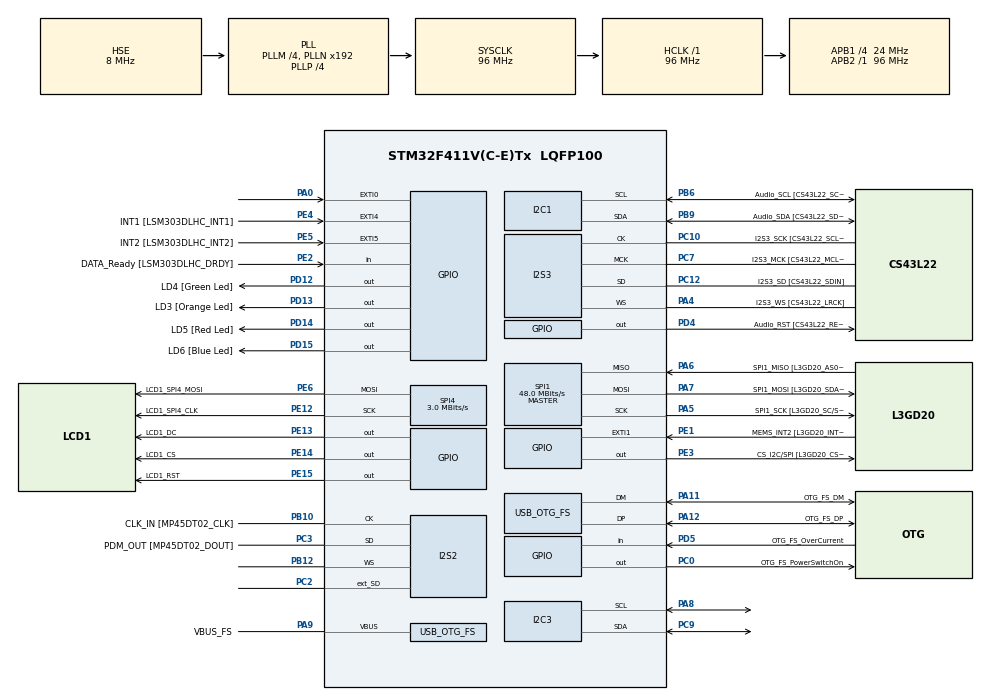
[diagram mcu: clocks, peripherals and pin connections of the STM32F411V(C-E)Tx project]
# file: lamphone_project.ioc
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I2S2.AudioFreq=I2S_AUDIOFREQ_96K
I2S2.ErrorAudioFreq=0.15 %
I2S2.FullDuplexMode=I2S_FULLDUPLEXMODE_ENABLE
I2S2.Instance=SPI$Index
I2S2.RealAudioFreq=96.153 KHz
I2S2.VirtualMode=I2S_MODE_MASTER
I2S3.AudioFreq=I2S_AUDIOFREQ_96K
I2S3.ErrorAudioFreq=-6.99 %
I2S3.FullDuplexMode=I2S_FULLDUPLEXMODE_DISABLE
I2S3.Instance=SPI$Index
I2S3.RealAudioFreq=89.285 KHz
I2S3.VirtualMode=I2S_MODE_MASTER
Mcu.Family=STM32F4
Mcu.Name=STM32F411V(C-E)Tx
Mcu.Package=LQFP100
NVIC.OTG_FS_IRQn=true\:0\:0\:false\:false\:true\:true\:true
NVIC.PriorityGroup=NVIC_PRIORITYGROUP_0
PA0-WKUP.GPIO_ModeDefaultEXTI=GPIO_MODE_EVT_RISING
PA0-WKUP.Signal=GPXTI0
PA10.GPIO_Label=OTG_FS_ID
PA10.Signal=USB_OTG_FS_ID
PA11.GPIO_Label=OTG_FS_DM
PA11.Mode=Device_Only
PA11.Signal=USB_OTG_FS_DM
PA12.GPIO_Label=OTG_FS_DP
PA12.Mode=Device_Only
PA12.Signal=USB_OTG_FS_DP
PA13.GPIO_Label=SWDIO
PA13.Mode=Serial_Wire
PA13.Signal=SYS_JTMS-SWDIO
PA14.GPIO_Label=SWCLK
PA14.Mode=Serial_Wire
PA14.Signal=SYS_JTCK-SWCLK
PA4.GPIO_Label=I2S3_WS [CS43L22_LRCK]
PA4.GPIO_Mode=GPIO_MODE_AF_PP
PA4.GPIO_PuPd=GPIO_NOPULL
PA4.GPIO_Speed=GPIO_SPEED_FREQ_LOW
PA4.Mode=Half_Duplex_Master
PA4.Signal=I2S3_WS
PA5.GPIO_Label=SPI1_SCK [L3GD20_SC/SPC]
PA5.Mode=Full_Duplex_Master
PA5.Signal=SPI1_SCK
PA6.GPIO_Label=SPI1_MISO [L3GD20_AS0/SDO]
PA6.Mode=Full_Duplex_Master
PA6.Signal=SPI1_MISO
PA7.GPIO_Label=SPI1_MOSI [L3GD20_SDA/SDI/SDO]
PA7.Mode=Full_Duplex_Master
PA7.Signal=SPI1_MOSI
PA8.Mode=I2C
PA8.Signal=I2C3_SCL
PA9.GPIO_Label=VBUS_FS
PA9.Mode=Activate_VBUS
PA9.Signal=USB_OTG_FS_VBUS
PB10.GPIO_Label=CLK_IN [MP45DT02_CLK]
PB10.Mode=Full_Duplex_Master
PB10.Signal=I2S2_CK
PB12.Mode=Full_Duplex_Master
PB12.Signal=I2S2_WS
PB3.GPIO_Label=SWO
PB3.Signal=SYS_JTDO-SWO
PB6.GPIO_Label=Audio_SCL [CS43L22_SCL]
PB6.GPIO_Mode=GPIO_MODE_AF_OD
PB6.GPIO_PuPd=GPIO_NOPULL
PB6.GPIO_Speed=GPIO_SPEED_FREQ_LOW
PB6.Mode=I2C
PB6.Signal=I2C1_SCL
PB9.GPIO_Label=Audio_SDA [CS43L22_SDA]
PB9.GPIO_Mode=GPIO_MODE_AF_OD
PB9.GPIO_PuPd=GPIO_NOPULL
PB9.GPIO_Speed=GPIO_SPEED_FREQ_LOW
PB9.Mode=I2C
PB9.Signal=I2C1_SDA
PC0.GPIO_Label=OTG_FS_PowerSwitchOn
PC0.PinState=GPIO_PIN_SET
PC0.Signal=GPIO_Output
PC10.GPIO_Label=I2S3_SCK [CS43L22_SCLK]
PC10.GPIO_Mode=GPIO_MODE_AF_PP
PC10.GPIO_PuPd=GPIO_NOPULL
PC10.GPIO_Speed=GPIO_SPEED_FREQ_LOW
PC10.Mode=Half_Duplex_Master
PC10.Signal=I2S3_CK
PC12.GPIO_Label=I2S3_SD [CS43L22_SDIN]
PC12.GPIO_Mode=GPIO_MODE_AF_PP
PC12.GPIO_PuPd=GPIO_NOPULL
PC12.GPIO_Speed=GPIO_SPEED_FREQ_LOW
PC12.Mode=Half_Duplex_Master
PC12.Signal=I2S3_SD
PC14-OSC32_IN.GPIO_Label=PC14-OSC32_IN
PC14-OSC32_IN.Mode=LSE-External-Oscillator
PC14-OSC32_IN.Signal=RCC_OSC32_IN
PC15-OSC32_OUT.GPIO_Label=PC15-OSC32_OUT
PC15-OSC32_OUT.Mode=LSE-External-Oscillator
PC15-OSC32_OUT.Signal=RCC_OSC32_OUT
PC2.Mode=Full_Duplex_Master
PC2.Signal=I2S2_ext_SD
PC3.GPIO_Label=PDM_OUT [MP45DT02_DOUT]
PC3.Mode=Full_Duplex_Master
PC3.Signal=I2S2_SD
PC7.GPIO_Label=I2S3_MCK [CS43L22_MCLK]
PC7.GPIO_Mode=GPIO_MODE_AF_PP
PC7.GPIO_PuPd=GPIO_NOPULL
PC7.GPIO_Speed=GPIO_SPEED_FREQ_LOW
PC7.Mode=Master_Clock_Activated
PC7.Signal=I2S3_MCK
PC9.Mode=I2C
PC9.Signal=I2C3_SDA
PD12.GPIO_Label=LD4 [Green Led]
PD12.GPIO_PuPd=GPIO_NOPULL
PD12.GPIO_Speed=GPIO_SPEED_FREQ_LOW
PD12.Signal=GPIO_Output
PD13.GPIO_Label=LD3 [Orange Led]
PD13.GPIO_PuPd=GPIO_NOPULL
PD13.GPIO_Speed=GPIO_SPEED_FREQ_LOW
PD13.Signal=GPIO_Output
PD14.GPIO_Label=LD5 [Red Led]
PD14.GPIO_PuPd=GPIO_NOPULL
PD14.GPIO_Speed=GPIO_SPEED_FREQ_LOW
PD14.Signal=GPIO_Output
PD15.GPIO_Label=LD6 [Blue Led]
PD15.GPIO_PuPd=GPIO_NOPULL
PD15.GPIO_Speed=GPIO_SPEED_FREQ_LOW
PD15.Signal=GPIO_Output
PD4.GPIO_Label=Audio_RST [CS43L22_RESET]
PD4.Signal=GPIO_Output
PD5.GPIO_Label=OTG_FS_OverCurrent
PD5.Signal=GPIO_Input
PE1.GPIO_Label=MEMS_INT2 [L3GD20_INT2]
PE1.GPIO_ModeDefaultEXTI=GPIO_MODE_EVT_RISING
PE1.Signal=GPXTI1
PE12.GPIO_Label=LCD1_SPI4_CLK
PE12.Mode=TX_Only_Simplex_Unidirect_Master
PE12.Signal=SPI4_SCK
PE13.GPIO_Label=LCD1_DC
PE13.Signal=GPIO_Output
PE14.GPIO_Label=LCD1_CS
PE14.Signal=GPIO_Output
PE15.GPIO_Label=LCD1_RST
PE15.Signal=GPIO_Output
PE2.GPIO_Label=DATA_Ready [LSM303DLHC_DRDY]
PE2.Signal=GPIO_Input
PE3.GPIO_Label=CS_I2C/SPI [L3GD20_CS_I2C/SPI]
PE3.Signal=GPIO_Output
PE4.GPIO_Label=INT1 [LSM303DLHC_INT1]
PE4.GPIO_ModeDefaultEXTI=GPIO_MODE_EVT_RISING
PE4.Signal=GPXTI4
PE5.GPIO_Label=INT2 [LSM303DLHC_INT2]
PE5.GPIO_ModeDefaultEXTI=GPIO_MODE_EVT_RISING
PE5.Signal=GPXTI5
PE6.GPIO_Label=LCD1_SPI4_MOSI
PE6.Mode=TX_Only_Simplex_Unidirect_Master
PE6.Signal=SPI4_MOSI
PH0\ -\ OSC_IN.GPIO_Label=PH0-OSC_IN
PH0\ -\ OSC_IN.Mode=HSE-External-Oscillator
PH0\ -\ OSC_IN.Signal=RCC_OSC_IN
PH1\ -\ OSC_OUT.GPIO_Label=PH1-OSC_OUT
PH1\ -\ OSC_OUT.Mode=HSE-External-Oscillator
PH1\ -\ OSC_OUT.Signal=RCC_OSC_OUT
ProjectManager.HeapSize=0x200
ProjectManager.StackSize=0x400
ProjectManager.TargetToolchain=SW4STM32
RCC.48MHZClocksFreq_Value=48000000
RCC.AHBFreq_Value=96000000
RCC.APB1CLKDivider=RCC_HCLK_DIV4
RCC.APB1Freq_Value=24000000
RCC.APB1TimFreq_Value=48000000
RCC.APB2Freq_Value=96000000
RCC.APB2TimFreq_Value=96000000
RCC.CortexFreq_Value=96000000
RCC.HCLKFreq_Value=96000000
RCC.HSE_VALUE=8000000
RCC.HSI_VALUE=16000000
RCC.PLLI2SM=5
RCC.PLLI2SN=200
RCC.PLLM=4
RCC.PLLP=RCC_PLLP_DIV4
RCC.PLLQ=8
RCC.SYSCLKFreq_VALUE=96000000
RCC.SYSCLKSource=RCC_SYSCLKSOURCE_PLLCLK
RCC.VCOOutputFreq_Value=384000000
SPI1.BaudRatePrescaler=SPI_BAUDRATEPRESCALER_2
SPI1.CalculateBaudRate=48.0 MBits/s
SPI1.Direction=SPI_DIRECTION_2LINES
SPI1.Mode=SPI_MODE_MASTER
SPI1.VirtualType=VM_MASTER
SPI4.BaudRatePrescaler=SPI_BAUDRATEPRESCALER_32
SPI4.CalculateBaudRate=3.0 MBits/s
SPI4.Direction=SPI_DIRECTION_2LINES
SPI4.Mode=SPI_MODE_MASTER
SPI4.VirtualType=VM_MASTER
USB_DEVICE.CLASS_NAME_FS=CDC
USB_DEVICE.VirtualMode=Cdc
USB_DEVICE.VirtualModeFS=Cdc_FS
USB_OTG_FS.VirtualMode=Device_Only
VP_USB_DEVICE_VS_USB_DEVICE_CDC_FS.Mode=CDC_FS
board=STM32F411E-DISCO

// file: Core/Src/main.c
/* USER CODE BEGIN Header */
/**
  ******************************************************************************
  * @file           : main.c
  * @brief          : Main program body
  ******************************************************************************
  * @attention
  *
  * <h2><center>&copy; Copyright (c) 2020 STMicroelectronics.
  * All rights reserved.</center></h2>
  *
  * This software component is licensed by ST under Ultimate Liberty license
  * SLA0044, the "License"; You may not use this file except in compliance with
  * the License. You may obtain a copy of the License at:
  *                             www.st.com/SLA0044
  *
  ******************************************************************************
  */
/* USER CODE END Header */
#include "main.h"
#include "i2c.h"
#include "i2s.h"
#include "spi.h"
#include "usb_device.h"
#include "gpio.h"

/* USER CODE BEGIN Includes */
#include "usbd_cdc_if.h"
#include "string.h"
#include "stdio.h"
/* USER CODE END Includes */

void SystemClock_Config(void);

int main(void)
{

  /* MCU Configuration--------------------------------------------------------*/

  /* Reset of all peripherals, Initializes the Flash interface and the Systick. */
  HAL_Init();

  /* USER CODE BEGIN Init */
  #define ADS1115_ADDRESS 0x48
  unsigned char ADSwrite[6];
  int16_t reading;
  /* USER CODE END Init */

  /* Configure the system clock */
  SystemClock_Config();

  /* Initialize all configured peripherals */
  MX_GPIO_Init();
  MX_I2C1_Init();
  MX_I2C3_Init();
  MX_I2S2_Init();
  MX_I2S3_Init();
  MX_SPI1_Init();
  MX_SPI4_Init();
  MX_USB_DEVICE_Init();
  /* USER CODE BEGIN 2 */
  ADSwrite[0] = 0x01;
  ADSwrite[1] = 0xC1; //11000001
  ADSwrite[2] = 0xE3; //10000011 LSB
  /* USER CODE END 2 */

  /* Infinite loop */
  /* USER CODE BEGIN WHILE */
  const char str[] = "12345!\n";
  char snum[16];
  while (1)
  {
	  ADSwrite[0] = 0x01;
	  ADSwrite[1] = 0xC0; //11000000
   	  ADSwrite[2] = 0xE3; //11100011 LSB
	  HAL_GPIO_WritePin(GPIOD, GPIO_PIN_15, GPIO_PIN_SET);
	  HAL_Delay(50);
	  HAL_GPIO_WritePin(GPIOD, GPIO_PIN_15, GPIO_PIN_RESET);

	  ADSwrite[0] = 0x00;

      reading = (ADSwrite[0] << 8 | ADSwrite[1] );
      if(reading < 0) {
    	  HAL_GPIO_WritePin(GPIOD, GPIO_PIN_13, GPIO_PIN_SET);
		  HAL_Delay(500);
		  HAL_GPIO_WritePin(GPIOD, GPIO_PIN_13, GPIO_PIN_RESET);
    	  reading = 0;
      }
      itoa(reading, snum, 10);
      snum[strlen(snum)] = '\n';
      snum[strlen(snum)] = '\0';
//      CDC_Transmit_FS(snum, strlen(snum));
      CDC_Transmit_FS(str, strlen(str));

    /* USER CODE END WHILE */

  }
}

void SystemClock_Config(void)
{
  RCC_OscInitTypeDef RCC_OscInitStruct = {0};
  RCC_ClkInitTypeDef RCC_ClkInitStruct = {0};
  RCC_PeriphCLKInitTypeDef PeriphClkInitStruct = {0};

  /** Configure the main internal regulator output voltage
  */
  __HAL_RCC_PWR_CLK_ENABLE();
  __HAL_PWR_VOLTAGESCALING_CONFIG(PWR_REGULATOR_VOLTAGE_SCALE1);
  /** Initializes the RCC Oscillators according to the specified parameters
  * in the RCC_OscInitTypeDef structure.
  */
  RCC_OscInitStruct.OscillatorType = RCC_OSCILLATORTYPE_HSE;
  RCC_OscInitStruct.HSEState = RCC_HSE_ON;
  RCC_OscInitStruct.PLL.PLLState = RCC_PLL_ON;
  RCC_OscInitStruct.PLL.PLLSource = RCC_PLLSOURCE_HSE;
  RCC_OscInitStruct.PLL.PLLM = 4;
  RCC_OscInitStruct.PLL.PLLN = 192;
  RCC_OscInitStruct.PLL.PLLP = RCC_PLLP_DIV4;
  RCC_OscInitStruct.PLL.PLLQ = 8;
  if (HAL_RCC_OscConfig(&RCC_OscInitStruct) != HAL_OK)
  {
    Error_Handler();
  }
  /** Initializes the CPU, AHB and APB buses clocks
  */
  RCC_ClkInitStruct.ClockType = RCC_CLOCKTYPE_HCLK|RCC_CLOCKTYPE_SYSCLK
                              |RCC_CLOCKTYPE_PCLK1|RCC_CLOCKTYPE_PCLK2;
  RCC_ClkInitStruct.SYSCLKSource = RCC_SYSCLKSOURCE_PLLCLK;
  RCC_ClkInitStruct.AHBCLKDivider = RCC_SYSCLK_DIV1;
  RCC_ClkInitStruct.APB1CLKDivider = RCC_HCLK_DIV4;
  RCC_ClkInitStruct.APB2CLKDivider = RCC_HCLK_DIV1;

  if (HAL_RCC_ClockConfig(&RCC_ClkInitStruct, FLASH_LATENCY_3) != HAL_OK)
  {
    Error_Handler();
  }
  PeriphClkInitStruct.PeriphClockSelection = RCC_PERIPHCLK_I2S;
  PeriphClkInitStruct.PLLI2S.PLLI2SN = 200;
  PeriphClkInitStruct.PLLI2S.PLLI2SM = 5;
  PeriphClkInitStruct.PLLI2S.PLLI2SR = 2;
  if (HAL_RCCEx_PeriphCLKConfig(&PeriphClkInitStruct) != HAL_OK)
  {
    Error_Handler();
  }
}

void Error_Handler(void)
{
}

/************************ (C) COPYRIGHT STMicroelectronics *****END OF FILE****/
